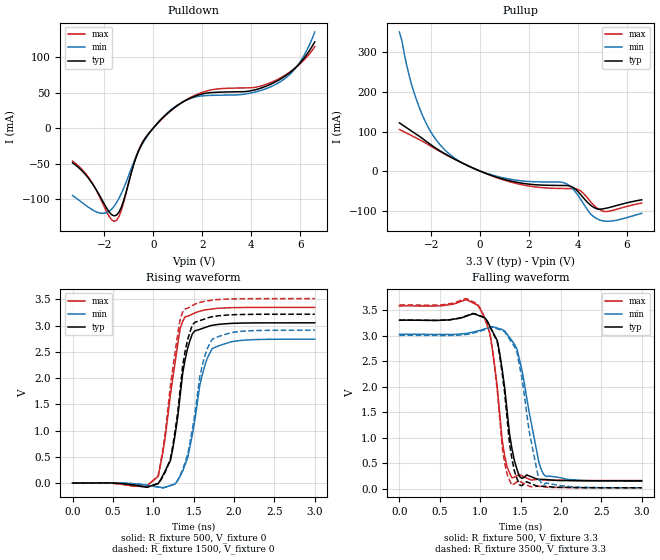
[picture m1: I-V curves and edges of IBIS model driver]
| IBIS file buffer.ibs created by PYS2IBIS3
| Missouri S&T EMC Lab
[IBIS Ver] 3.2
[File Name] buffer.ibs
[File Rev] 0
[Date] April 1, 2004
[Source] From MegaFLOPS Inc. layout and silicon models.
[Notes] I really wouldn't try to use this driver.  It's really bad.
[Disclaimer] This file is only for demonstration purposes. It describes
 a really crummy driver.
 You can put blank lines in any of these sections. (But s2ibis3 won't
 print them.)
 Of course, as noted in the documentation, any text in these sections is
 truncated at 1KB.
[Copyright] Copyright 2004 MegaFLOPS Inc.
|   Component MCM Driver 1
[Component] MCM Driver 1
[Manufacturer] MegaFLOPS Inc.
[Package]
| variable   typ   min   max
R_pkg 2.0000m 1.0000m 4.0000m
L_pkg 0.2000nH 0.1000nH 0.4000nH
C_pkg 2.0000pF 1.0000pF 4.0000pF
[Pin]  signal_name   model_name   R_pin   L_pin   C_pin
vdd   vdd   POWER
gnd   gnd   GND
| in in dummy
out   out   driver
| End of Component
| Models and submodels in the file (1): driver (Output)
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|   Model driver
[Model] driver
Model_type Output
Polarity Non-Inverting
Enable Active-Low
C_comp 5.0000pF 5.0000pF 5.0000pF
[Temperature Range] 27.0000 100.0000 0.0000
[Voltage Range] 3.3000V 3.0000V 3.6000V
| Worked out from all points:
|   slope of the pulldown table from 0 to 0.495 V, typ, clamps not added: 27.4 ohm
|   slope of the pullup table from 0 to 0.495 V, typ, clamps not added: 42.7 ohm
|   rising waveform, R_fixture 500, V_fixture 0: 20-80 % time 171ps typ, 196ps min, 179ps max; typ from 0 V to 3.05 V
|   rising waveform, R_fixture 1500, V_fixture 0: 20-80 % time 169ps typ, 192ps min, 175ps max; typ from 0 V to 3.21 V
|   falling waveform, R_fixture 500, V_fixture 3.3: 20-80 % time 154ps typ, 203ps min, 148ps max; typ from 3.3 V to 0.159 V
|   falling waveform, R_fixture 3500, V_fixture 3.3: 20-80 % time 147ps typ, 183ps min, 145ps max; typ from 3.3 V to 0.023 V
[Pulldown]
| Voltage   I(typ)   I(min)   I(max)
-3.3V     -48.93mA   -94.81mA   -46.54mA
-2.2V     -94.65mA   -119.5mA   -96.36mA
-1.8V     -118.2mA   -117mA     -124.6mA
-1.5V     -122.5mA   -104.9mA   -129.8mA
-1.3V     -110.9mA   -91.68mA   -115.3mA
-800mV    -51.3mA    -48.05mA   -50.03mA
-500mV    -24.59mA   -25.57mA   -23.54mA
600mV     21.34mA    22.16mA    20.91mA
2.1V      48.76mA    45.67mA    51.37mA
5V        65.13mA    61.45mA    67.15mA
5.9V      87.99mA    88.06mA    87.42mA
6.6V      121.3mA    135.2mA    114.5mA
[Pullup]
| Voltage   I(typ)   I(min)   I(max)
-3.3V     122mA      351.7mA    105.1mA
-2.9V     105.2mA    241mA      92.79mA
-2.4V     84.36mA    147.1mA    76.85mA
-1.8V     57.62mA    79.09mA    55.14mA
-1.1V     32.08mA    35.42mA    32.04mA
-200mV    5.278mA    4.741mA    5.561mA
900mV     -19.42mA   -16.35mA   -21.23mA
3.5V      -36.42mA   -31.25mA   -44.04mA
4.1V      -58.78mA   -70.62mA   -49.84mA
4.5V      -85.43mA   -107.5mA   -76.41mA
4.9V      -96.11mA   -123.8mA   -98.02mA
6.6V      -72.53mA   -106.7mA   -80.71mA
[Ramp]
| variable   typ   min   max
dV/dt_r 1.8312/0.1696n 1.6440/0.1935n 2.0076/0.1773n
dV/dt_f 1.8845/0.1525n 1.7182/0.1972n 2.0519/0.1471n
R_load = 500
[Rising Waveform]
R_fixture = 500
V_fixture = 0
|time   V(typ)   V(min)   V(max)
0s        10.36nV    83.17nV    4.169nV
909.1ps   -77.95mV   -39.38mV   -64.44mV
1.061ns   -9.059mV   -73.93mV   130.4mV
1.212ns   426.9mV    -46.76mV   1.682V
1.333ns   1.673V     133.1mV    2.946V
1.394ns   2.349V     351.6mV    3.168V
1.485ns   2.846V     933.4mV    3.218V
1.576ns   2.927V     1.862V     3.272V
1.727ns   3.004V     2.558V     3.315V
3ns       3.052V     2.74V      3.346V
[Rising Waveform]
R_fixture = 1500
V_fixture = 0
|time   V(typ)   V(min)   V(max)
0s        10.69nV    85.66nV    4.308nV
909.1ps   -80.19mV   -40.56mV   -66.38mV
1.061ns   -9.862mV   -76.44mV   133.6mV
1.212ns   462.1mV    -49.04mV   1.856V
1.333ns   1.793V     148.7mV    3.122V
1.394ns   2.506V     394mV      3.316V
1.485ns   3.012V     1.03V      3.382V
1.576ns   3.093V     2.028V     3.439V
1.727ns   3.167V     2.735V     3.483V
3ns       3.215V     2.911V     3.513V
[Falling Waveform]
R_fixture = 500
V_fixture = 3.3
|time   V(typ)   V(min)   V(max)
0s        3.3V       3.025V     3.58V
969.7ps   3.398V     3.089V     3.592V
1.121ns   3.178V     3.165V     3.037V
1.212ns   2.901V     3.146V     1.984V
1.303ns   1.988V     3.091V     654.7mV
1.394ns   783.3mV    2.897V     216.3mV
1.485ns   246mV      2.542V     281.3mV
1.727ns   184.3mV    518.8mV    189mV
1.788ns   185.1mV    278.9mV    179.3mV
3ns       159.1mV    150.5mV    164.7mV
[Falling Waveform]
R_fixture = 3500
V_fixture = 3.3
|time   V(typ)   V(min)   V(max)
0s        3.3V       3.004V     3.597V
969.7ps   3.404V     3.071V     3.612V
1.121ns   3.172V     3.152V     3.037V
1.212ns   2.876V     3.131V     1.923V
1.303ns   1.883V     3.072V     512.6mV
1.394ns   584.3mV    2.859V     73.74mV
1.485ns   81.41mV    2.433V     152.9mV
1.606ns   120.5mV    1.138V     55.87mV
1.758ns   51.34mV    117.6mV    46.96mV
3ns       23.05mV    21.86mV    23.91mV
